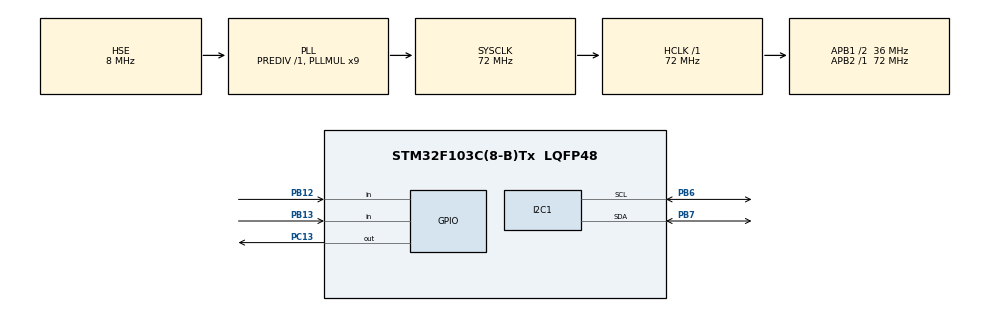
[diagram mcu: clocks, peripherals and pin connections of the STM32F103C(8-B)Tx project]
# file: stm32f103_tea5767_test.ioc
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Mcu.Family=STM32F1
Mcu.Name=STM32F103C(8-B)Tx
Mcu.Package=LQFP48
NVIC.PriorityGroup=NVIC_PRIORITYGROUP_4
PA13.Mode=Serial_Wire
PA13.Signal=SYS_JTMS-SWDIO
PA14.Mode=Serial_Wire
PA14.Signal=SYS_JTCK-SWCLK
PB12.GPIO_PuPd=GPIO_PULLUP
PB12.Signal=GPIO_Input
PB13.GPIO_PuPd=GPIO_PULLUP
PB13.Signal=GPIO_Input
PB6.Mode=I2C
PB6.Signal=I2C1_SCL
PB7.Mode=I2C
PB7.Signal=I2C1_SDA
PC13-TAMPER-RTC.Signal=GPIO_Output
PD0-OSC_IN.Mode=HSE-External-Oscillator
PD0-OSC_IN.Signal=RCC_OSC_IN
PD1-OSC_OUT.Mode=HSE-External-Oscillator
PD1-OSC_OUT.Signal=RCC_OSC_OUT
ProjectManager.HeapSize=0x200
ProjectManager.StackSize=0x400
ProjectManager.TargetToolchain=TrueSTUDIO
RCC.AHBFreq_Value=72000000
RCC.APB1CLKDivider=RCC_HCLK_DIV2
RCC.APB1Freq_Value=36000000
RCC.APB1TimFreq_Value=72000000
RCC.APB2Freq_Value=72000000
RCC.APB2TimFreq_Value=72000000
RCC.HCLKFreq_Value=72000000
RCC.PLLMUL=RCC_PLL_MUL9
RCC.PLLSourceVirtual=RCC_PLLSOURCE_HSE
RCC.SYSCLKFreq_VALUE=72000000
RCC.SYSCLKSource=RCC_SYSCLKSOURCE_PLLCLK
RCC.USBFreq_Value=72000000
board=custom

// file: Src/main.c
/* USER CODE BEGIN Header */
/**
 ******************************************************************************
 * @file           : main.c
 * @brief          : Main program body
 ******************************************************************************
 ** This notice applies to any and all portions of this file
 * that are not between comment pairs USER CODE BEGIN and
 * USER CODE END. Other portions of this file, whether
 * inserted by the user or by software development tools
 * are owned by their respective copyright owners.
 *
 * COPYRIGHT(c) 2019 STMicroelectronics
 *
 * Redistribution and use in source and binary forms, with or without modification,
 * are permitted provided that the following conditions are met:
 *   1. Redistributions of source code must retain the above copyright notice,
 *      this list of conditions and the following disclaimer.
 *   2. Redistributions in binary form must reproduce the above copyright notice,
 *      this list of conditions and the following disclaimer in the documentation
 *      and/or other materials provided with the distribution.
 *   3. Neither the name of STMicroelectronics nor the names of its contributors
 *      may be used to endorse or promote products derived from this software
 *      without specific prior written permission.
 *
 * THIS SOFTWARE IS PROVIDED BY THE COPYRIGHT HOLDERS AND CONTRIBUTORS "AS IS"
 * AND ANY EXPRESS OR IMPLIED WARRANTIES, INCLUDING, BUT NOT LIMITED TO, THE
 * IMPLIED WARRANTIES OF MERCHANTABILITY AND FITNESS FOR A PARTICULAR PURPOSE ARE
 * DISCLAIMED. IN NO EVENT SHALL THE COPYRIGHT HOLDER OR CONTRIBUTORS BE LIABLE
 * FOR ANY DIRECT, INDIRECT, INCIDENTAL, SPECIAL, EXEMPLARY, OR CONSEQUENTIAL
 * DAMAGES (INCLUDING, BUT NOT LIMITED TO, PROCUREMENT OF SUBSTITUTE GOODS OR
 * SERVICES; LOSS OF USE, DATA, OR PROFITS; OR BUSINESS INTERRUPTION) HOWEVER
 * CAUSED AND ON ANY THEORY OF LIABILITY, WHETHER IN CONTRACT, STRICT LIABILITY,
 * OR TORT (INCLUDING NEGLIGENCE OR OTHERWISE) ARISING IN ANY WAY OUT OF THE USE
 * OF THIS SOFTWARE, EVEN IF ADVISED OF THE POSSIBILITY OF SUCH DAMAGE.
 *
 ******************************************************************************
 */
/* USER CODE END Header */

#include "main.h"
#include "i2c.h"
#include "gpio.h"

/* USER CODE BEGIN Includes */
#include "TEA5767Radio.h"
#include "ssd1306.h"
/* USER CODE END Includes */

/* USER CODE BEGIN PD */
char printData[50];
float freq = 100;
/* USER CODE END PD */

void SystemClock_Config(void);

void printFreq() {
	ssd1306_SetCursor(35, 36);
	ssd1306_WriteString("     ", Font_11x18, White);

	ssd1306_SetCursor(20, 0);
	ssd1306_WriteString("FM RADIO", Font_11x18, White);
	ssd1306_SetCursor(40, 16);
	ssd1306_WriteString("freq:", Font_11x18, White);
	if (freq >= 100) {
		ssd1306_SetCursor(35, 36);
	} else {
		ssd1306_SetCursor(40, 36);
	}
	sprintf(printData, "%3.1f", freq); //enable full c++ to make it work!
	ssd1306_WriteString(printData, Font_11x18, White);

	ssd1306_SetCursor(0, 36);
	ssd1306_WriteString("<", Font_11x18, White);
	ssd1306_SetCursor(116, 36);
	ssd1306_WriteString(">", Font_11x18, White);
	ssd1306_UpdateScreen();
}

void printFreqDown() {
	ssd1306_SetCursor(0, 36);
	ssd1306_WriteString("<", Font_11x18, Black);
	ssd1306_UpdateScreen();
	HAL_Delay(20);
	printFreq();
}

void printFreqUp() {
	ssd1306_SetCursor(116, 36);
	ssd1306_WriteString(">", Font_11x18, Black);
	ssd1306_UpdateScreen();
	HAL_Delay(50);
	printFreq();
}

void setFreq() {
	if (freq > 106.0) {
		freq = 95.0;
	}
	if (freq < 95.0) {
		freq = 106.0;
	}
	setFrequency(freq);
}

int main(void) {

	/* MCU Configuration--------------------------------------------------------*/

	/* Reset of all peripherals, Initializes the Flash interface and the Systick. */
	HAL_Init();

	/* Configure the system clock */
	SystemClock_Config();

	/* Initialize all configured peripherals */
	MX_GPIO_Init();
	MX_I2C1_Init();
	/* USER CODE BEGIN 2 */
	ssd1306_Init();
	setFreq();
	printFreq();
	/* USER CODE END 2 */

	/* Infinite loop */
	/* USER CODE BEGIN WHILE */
	while (1) {
		//increase frequency

		if (!HAL_GPIO_ReadPin(GPIOB, GPIO_PIN_12)) {
			freq -= 0.1;
			setFreq();
			printFreqDown();

		}
		if (!HAL_GPIO_ReadPin(GPIOB, GPIO_PIN_13)) {
			freq += 0.1;
			setFreq();
			printFreqUp();

		}

		/* USER CODE END WHILE */

	}
}

void SystemClock_Config(void) {
	RCC_OscInitTypeDef RCC_OscInitStruct = { 0 };
	RCC_ClkInitTypeDef RCC_ClkInitStruct = { 0 };

	/**Initializes the CPU, AHB and APB busses clocks
	 */
	RCC_OscInitStruct.OscillatorType = RCC_OSCILLATORTYPE_HSE;
	RCC_OscInitStruct.HSEState = RCC_HSE_ON;
	RCC_OscInitStruct.HSEPredivValue = RCC_HSE_PREDIV_DIV1;
	RCC_OscInitStruct.HSIState = RCC_HSI_ON;
	RCC_OscInitStruct.PLL.PLLState = RCC_PLL_ON;
	RCC_OscInitStruct.PLL.PLLSource = RCC_PLLSOURCE_HSE;
	RCC_OscInitStruct.PLL.PLLMUL = RCC_PLL_MUL9;
	if (HAL_RCC_OscConfig(&RCC_OscInitStruct) != HAL_OK) {
		Error_Handler();
	}
	/**Initializes the CPU, AHB and APB busses clocks
	 */
	RCC_ClkInitStruct.ClockType = RCC_CLOCKTYPE_HCLK | RCC_CLOCKTYPE_SYSCLK
			| RCC_CLOCKTYPE_PCLK1 | RCC_CLOCKTYPE_PCLK2;
	RCC_ClkInitStruct.SYSCLKSource = RCC_SYSCLKSOURCE_PLLCLK;
	RCC_ClkInitStruct.AHBCLKDivider = RCC_SYSCLK_DIV1;
	RCC_ClkInitStruct.APB1CLKDivider = RCC_HCLK_DIV2;
	RCC_ClkInitStruct.APB2CLKDivider = RCC_HCLK_DIV1;

	if (HAL_RCC_ClockConfig(&RCC_ClkInitStruct, FLASH_LATENCY_2) != HAL_OK) {
		Error_Handler();
	}
}

void Error_Handler(void) {
}

/************************ (C) COPYRIGHT STMicroelectronics *****END OF FILE****/
